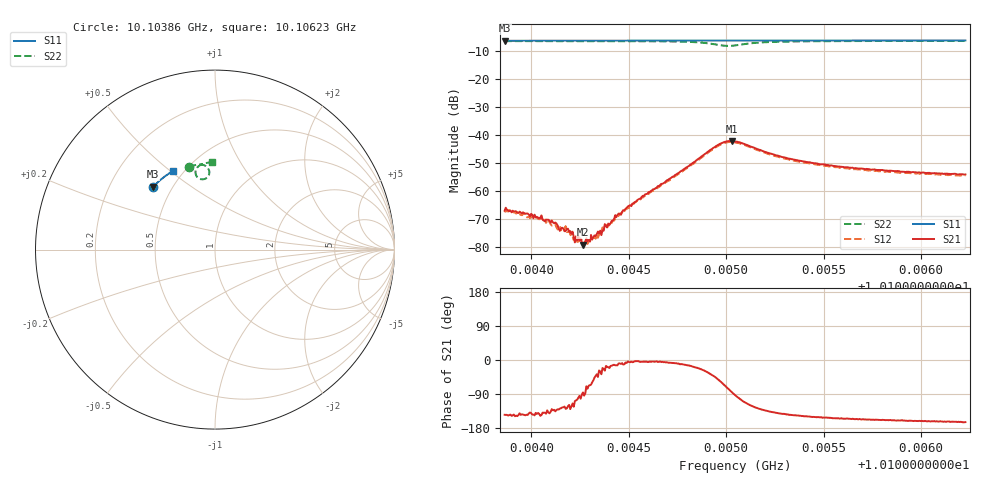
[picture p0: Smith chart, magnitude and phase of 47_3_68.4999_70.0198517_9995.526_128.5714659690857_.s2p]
#  HZ  S  RI  R  50.00
! Rohde & Schwarz Vector Network Analyzer
! Rohde-Schwarz,ZNB20-2Port,1311601062101988,3.16
! Created: UTC 3/20/2024, 4:50:41 PM
! freq[Hz]  re:S11  im:S11  re:S21  im:S21  re:S12  im:S12  re:S22  im:S22
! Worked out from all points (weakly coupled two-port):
!   401 points, 10.10386 GHz to 10.10623 GHz, reference 50 ohm
!   highest |S21| = -42.03 dB at 10.10503 GHz (marker M1); lowest = -79.1 dB at 10.10426 GHz (marker M2)
!   lowest |S11| = -6.2 dB at 10.10386 GHz (marker M3), VSWR 2.93, Z = 19.7 + j18.1 ohm
!   |S11| at or under -10 dB: nowhere
!   |S22| runs from -8.0 to -6.2 dB; largest |S21 - S12| = 0.00079
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1.0103863e10  -0.3441 0.35  -0.000365 -0.000259  -0.000343 -0.000265  -0.1439 0.4613
1.010397e10  -0.3398 0.3548  -0.000329 -0.000223  -0.000263 -0.000229  -0.1367 0.4639
1.0104058e10  -0.3359 0.3586  -0.000234 -0.000203  -0.000213 -0.000216  -0.1305 0.4658
1.0104117e10  -0.3334 0.3613  -0.000176 -0.0002  -0.000134 -0.000211  -0.1262 0.467
1.0104147e10  -0.3321 0.3625  -0.000121 -0.000153  -0.000142 -0.00019  -0.1239 0.4675
1.010417e10  -0.3311 0.3636  -0.000104 -0.000161  -0.000101 -0.000181  -0.1223 0.4681
1.01042e10  -0.3298 0.3648  -0.000123 -0.000149  -7.11e-05 -0.000154  -0.12 0.4686
1.0104212e10  -0.3294 0.3654  -7.87e-05 -0.000171  -3.59e-05 -0.000152  -0.1192 0.4689
1.0104259e10  -0.3273 0.3674  -4.14e-06 -0.000123  -1.04e-05 -0.000133  -0.1154 0.4697
1.0104265e10  -0.327 0.3677  8.46e-06 -0.000111  5.32e-06 -0.000104  -0.1148 0.4699
1.0104277e10  -0.3264 0.3681  3.6e-06 -0.000125  1.94e-05 -0.000109  -0.114 0.4702
1.0104342e10  -0.3236 0.3709  0.000135 -0.000133  0.00013 -6.71e-05  -0.1087 0.4712
1.0104371e10  -0.3222 0.3721  0.00018 -8.05e-05  0.000202 -4.82e-05  -0.1061 0.4717
1.010446e10  -0.3185 0.3758  0.000372 -6.74e-05  0.0004 -3.78e-05  -0.0983 0.4732
1.0104655e10  -0.3095 0.3838  0.00123 -0.000108  0.00119 1.14e-05  -0.0769 0.4737
1.0104944e10  -0.2957 0.3948  0.00441 -0.00449  0.00459 -0.00391  -0.0323 0.4211
1.0105027e10  -0.2922 0.3976  0.000801 -0.00787  0.00146 -0.00746  -0.0754 0.3916
1.0105045e10  -0.2913 0.3983  -0.000348 -0.00779  0.000371 -0.00747  -0.0869 0.3951
1.0105258e10  -0.2814 0.4066  -0.00332 -0.00282  -0.00294 -0.00299  -0.0968 0.46
1.0105441e10  -0.2725 0.4132  -0.00279 -0.00159  -0.0025 -0.00176  -0.0762 0.4743
1.0105837e10  -0.2527 0.4268  -0.00216 -0.00085  -0.00198 -0.000983  -0.0426 0.4841
1.0106227e10  -0.2325 0.4392  -0.00192 -0.000553  -0.00178 -0.000697  -0.0142 0.4876
